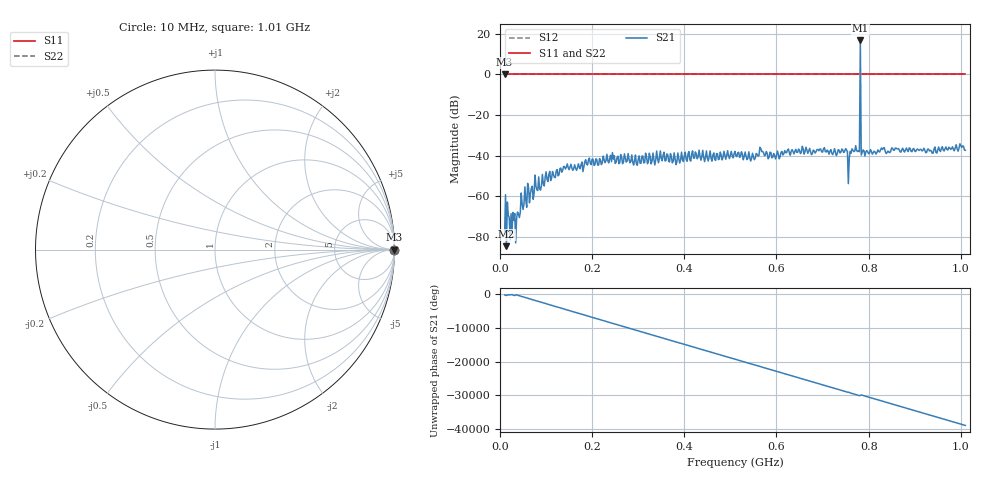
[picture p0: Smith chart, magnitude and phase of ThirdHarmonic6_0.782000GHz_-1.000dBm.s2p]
! 8/16/2025 2:06:44 AM
! C:\ANRITSUVNA\TEMP\TEMP.S2P
! CHANNEL.1
! TR.MEASUREMENT
! RAW.DATA
! RF.CORRECTION.OFF
! AVERAGING.OFF
! IF.BANDWIDTH: 5KHZ
! SWEEPTYPE:  FREQ.SWEEP(Linear)
! Reference Plane Port Info
! PORT:  PORT1  PORT2
! DISTANCE:  0  m  0  m
! TIME:  0  s  0  s
! PHASE.OFFSET:  0  deg.  0  deg.
! LOSS:  0  dB  0  dB
! REF.LOSS:  0  dB  0  dB
! REF.FREQ:  0  Hz  0  Hz
! Power Info
! POWER:  -20  dBm  -20  dBm
! EFF.POWER:  -20  dBm  -20  dBm
! SOURCE.ATTEN:  0  dB  0  dB
! TEST.ATTEN:  0  dB  0  dB
# GHZ S RI R 50.0
! FREQ.GHZ  S11RE  S11IM  S21RE  S21IM  S12RE  S12IM  S22RE  S22IM
!; PortSelection: Port_12
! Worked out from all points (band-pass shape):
!   501 points, 10 MHz to 1.01 GHz, reference 50 ohm
!   highest |S21| = 16.64 dB at 782 MHz (marker M1); lowest = -84.5 dB at 14 MHz (marker M2)
!   |S21| within 3 dB of the highest: 781.8903 MHz to 782.1065 MHz (216.3 kHz wide, 0.0277 % of centre)
!   lowest |S11| = 0.0 dB at 10 MHz (marker M3)
!   |S11| at or under -10 dB: nowhere
!   |S22| runs from 0.0 to 0.0 dB; largest |S21 - S12| = 7.2
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0.01  1 0  -0.000113 -1.73e-05  1 0  1 0
0.014  1 0  4.77e-05 3.56e-05  1 0  1 0
0.022  1 0  -7.74e-05 -3.45e-05  1 0  1 0
0.038  1 0  -0.000369 0.000183  1 0  1 0
0.058  1 0  0.00048 0.000243  1 0  1 0
0.104  1 0  0.00164 -0.00162  1 0  1 0
0.178  1 0  -0.00664 -0.00212  1 0  1 0
0.244  1 0  0.00684 0.00975  1 0  1 0
0.294  1 0  -0.0102 -0.00218  1 0  1 0
0.344  1 0  0.00668 -4.4e-05  1 0  1 0
0.51  1 0  -0.0127 0.00113  1 0  1 0
0.678  1 0  0.00456 -0.0104  1 0  1 0
0.748  1 0  0.0128 -0.000214  1 0  1 0
0.758  1 0  0.00713 0.0051  1 0  1 0
0.764  1 0  0.00497 0.0138  1 0  1 0
0.776  1 0  0.00628 -0.0109  1 0  1 0
0.778  1 0  -0.00886 -0.00994  1 0  1 0
0.782  1 0  -2.474 -6.323  1 0  1 0
0.786  1 0  6.03e-05 -0.0121  1 0  1 0
0.788  1 0  -0.0137 -0.00199  1 0  1 0
0.844  1 0  -0.00153 0.012  1 0  1 0
1.01  1 0  0.00411 -0.0129  1 0  1 0
